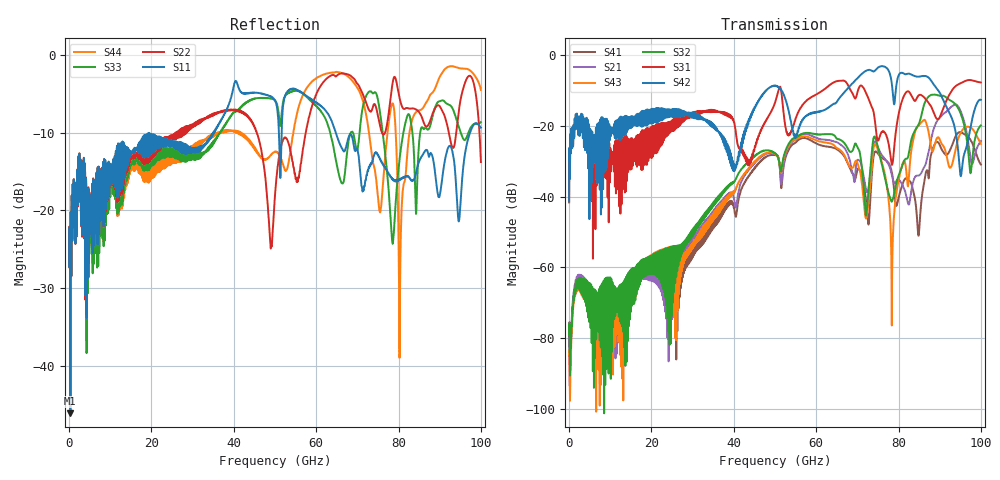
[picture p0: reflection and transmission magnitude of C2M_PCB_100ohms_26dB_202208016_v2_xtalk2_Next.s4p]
! Info: Touchstone file created by Circ.  Input file=Intel_C2M_200G_11p0in_202208016_staggered.circ
# Hz S RI R 50
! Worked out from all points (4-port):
!   10000 points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, 10 MHz to 100 GHz, reference 50 ohm
!   strongest paths, dB at 10 MHz, 25.01 GHz, 50.01 GHz, 75.01 GHz, 100 GHz:
!     S42: -41.4, -15.4, -8.7, -3.4, -12.6
!     S31: -41.6, -18.6, -13.4, -24.1, -7.7
!     S32: -79.1, -61.3, -27.7, -26.1, -19.8
!     S43: -83.4, -60.1, -27.7, -26.8, -25.0
!     S21: -80.0, -60.3, -27.8, -26.0, -24.2
!     S41: -82.4, -61.4, -28.1, -27.8, -30.9
!   lowest |S11| = -46.1 dB at 290 MHz (marker M1), VSWR 1.01, Z = 49.8 + j0.451 ohm
!   |S11| at or under -10 dB: start of sweep to 34.94 GHz; 50.95 GHz to 51.6 GHz (644.7 MHz wide, 1.26 % of centre); 64.73 GHz to 97.38 GHz (32.65 GHz wide, 40.3 % of centre)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
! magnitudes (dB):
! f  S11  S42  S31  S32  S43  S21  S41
! 10 MHz  -27.2  -41.4  -41.6  -79.1  -83.4  -80.0  -82.4
! 290 MHz  -46.1  -23.2  -23.3  -85.3  -91.4  -87.2  -85.8
! 56.2 GHz  -4.8  -19.5  -14.9  -22.5  -23.1  -22.6  -23.6
! 74.56 GHz  -12.6  -3.9  -21.4  -24.0  -25.5  -24.8  -27.2
! 78.41 GHz  -15.8  -8.3  -31.0  -41.3  -66.3  -34.0  -33.3
! 85.01 GHz  -13.7  -6.0  -11.2  -19.2  -19.6  -33.9  -49.6
! 100 GHz  -9.4  -12.6  -7.7  -19.8  -25.0  -24.2  -30.9
